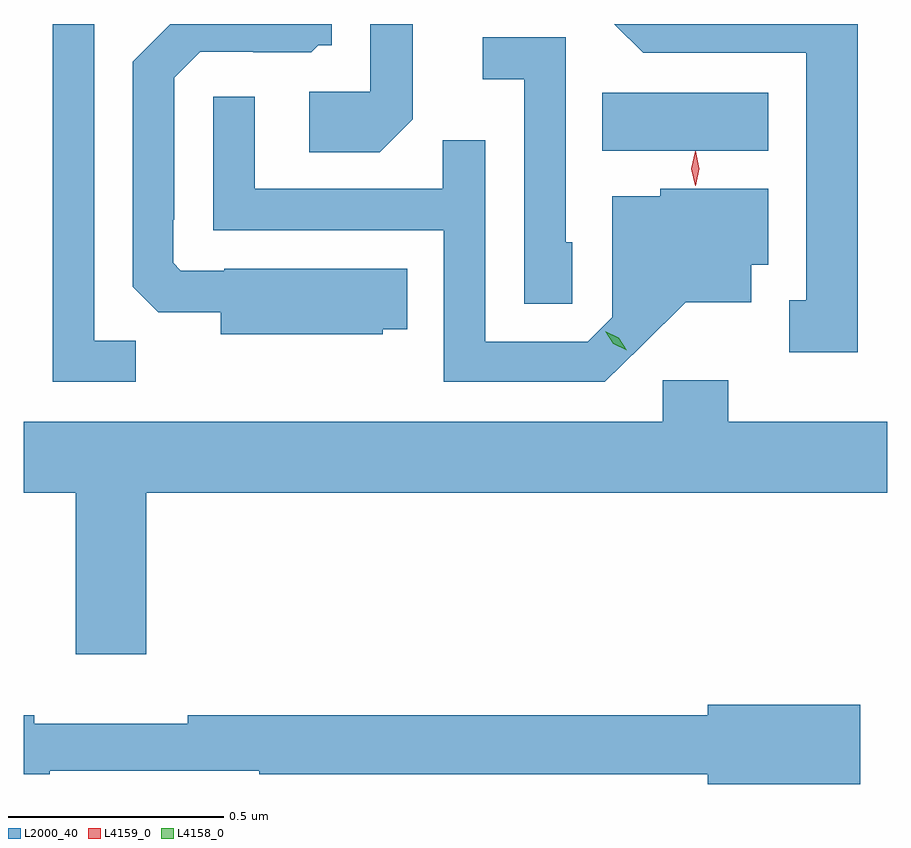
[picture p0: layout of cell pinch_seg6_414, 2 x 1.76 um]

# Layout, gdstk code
import gdstk
lib = gdstk.Library(unit=1e-6, precision=1e-09)
def R(c, l, rs):  # rectangles x0, y0, x1, y1
    for r in rs: c.add(gdstk.rectangle(r[:2], r[2:], *l))
def P(c, l, *ps):  # polygons
    for p in ps: c.add(gdstk.Polygon(p, *l))
L2000_40 = (2000, 40)
L4158_0 = (4158, 0)
L4159_0 = (4159, 0)

pinch_seg6_414 = lib.new_cell('pinch_seg6_414')
R(pinch_seg6_414, L2000_40, [(633.76,936.14,634.144,936.274)])
P(pinch_seg6_414, L2000_40, [(632.679,935.699),(632.583,935.699),(632.583,936.433),(632.487,936.433),(632.487,935.604),(632.679,935.604)],
  [(633.321,936.212),(633.321,936.433),(633.222,936.433),(633.222,936.276),(633.081,936.276),(633.081,936.136),(633.245,936.136)],
  [(634.351,936.433),(633.788,936.433),(633.855,936.366),(634.232,936.366),(634.232,935.793),(634.193,935.793),(634.193,935.673),(634.351,935.673)],
  [(633.252,935.726),(633.308,935.726),(633.308,935.866),(632.884,935.866),(632.884,935.862),(632.784,935.862),(632.766,935.88),(632.766,935.98),(632.769,935.98),(632.769,936.309),(632.829,936.369),(632.952,936.369),(632.952,936.368),(633.086,936.368),(633.102,936.384),(633.133,936.384),(633.133,936.433),(632.759,936.433),(632.673,936.346),(632.673,935.824),(632.732,935.765),(632.876,935.765),(632.876,935.714),(633.252,935.714)],
  [(633.69,935.928),(633.675,935.928),(633.675,936.402),(633.483,936.402),(633.483,936.305),(633.579,936.305),(633.579,935.785),(633.69,935.785)],
  [(633.85,935.687),(633.953,935.789),(634.105,935.789),(634.105,935.876),(634.144,935.876),(634.144,936.052),(633.894,936.052),(633.894,936.034),(633.783,936.034),(633.783,935.754),(633.726,935.697),(633.489,935.697),(633.489,936.164),(633.391,936.164),(633.391,936.051),(632.955,936.051),(632.955,936.265),(632.859,936.265),(632.859,935.955),(633.393,935.955),(633.393,935.604),(633.766,935.604)],
  [(632.704,935.348),(634.42,935.348),(634.42,935.512),(634.052,935.512),(634.052,935.608),(633.9,935.608),(633.9,935.512),(632.42,935.512),(632.42,935.348),(632.54,935.348),(632.54,934.974),(632.704,934.974)],
  [(634.357,934.856),(634.004,934.856),(634.004,934.832),(632.8,934.832),(632.8,934.813),(632.444,934.813),(632.444,934.832),(632.42,934.832),(632.42,934.696),(632.48,934.696),(632.48,934.704),(632.965,934.704),(632.965,934.696),(634.004,934.696),(634.004,934.673),(634.357,934.673)])
P(pinch_seg6_414, L4158_0, [(633.816,935.677),(633.785,935.692),(633.767,935.721),(633.767,935.722),(633.767,935.722),(633.798,935.707),(633.816,935.678),(633.816,935.677)])
P(pinch_seg6_414, L4159_0, [(633.975,936.058),(633.966,936.098),(633.975,936.138),(633.975,936.138),(633.976,936.138),(633.985,936.098),(633.976,936.058),(633.976,936.058)])

lib.write_gds('pinch_seg6_414.gds')
